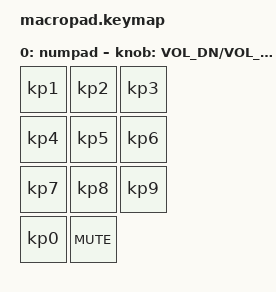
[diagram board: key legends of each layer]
#include <behaviors.dtsi>
#include <dt-bindings/zmk/keys.h>

/ {
    keymap {
        compatible = "zmk,keymap";

        default_layer {
            display-name = "numpad";
            bindings = <
                &kp KP_N1    &kp KP_N2    &kp KP_N3
                &kp KP_N4    &kp KP_N5    &kp KP_N6
                &kp KP_N7    &kp KP_N8    &kp KP_N9
                &kp KP_N0    &kp C_MUTE
            >;

            // Mapování otáčení enkodéru: <&inc_dec_kp AKCE_DOLEVA AKCE_DOPRAVA>
            // Zde je příklad pro snížení a zvýšení hlasitosti
            sensor-bindings = <&inc_dec_kp C_VOL_DN C_VOL_UP>;
        };
    };
};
